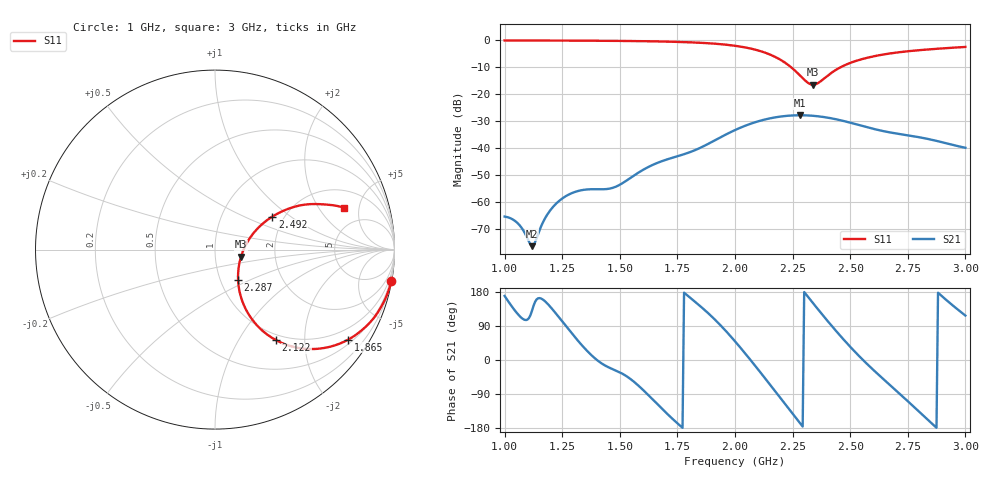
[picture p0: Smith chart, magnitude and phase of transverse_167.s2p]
! TOUCHSTONE file generated by CST MICROWAVE STUDIO
! Date and time: Tue Mar 11 13:57:19 2025
! Project name: transverse.cst
! Parameters = {Fracture=1; B=10; D=160; F=15; Feed=2.85625; L=100; M=30; R=0.384908; S=2; Theta=180; length=57.125; wave=114.25}
! Header version: 2024
! Port assignment regex: !\s*Touchstone port\s*([0-9]+)\s*=\s*(CST MWS port|CST DES external port|CST DES block port)\s*(.+)\s* \(\"(.*)\"\)(\s*mode\s*([0-9]+))?.*
! Touchstone port assignment:
! Touchstone port 1 = CST MWS port 1 ("")
! Touchstone port 2 = CST MWS port 2 ("")
# GHz S MA R 50
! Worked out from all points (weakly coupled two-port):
!   304 points, 1 GHz to 3 GHz, reference 50 ohm
!   highest |S21| = -27.81 dB at 2.281 GHz (marker M1); lowest = -76.4 dB at 1.119 GHz (marker M2)
!   lowest |S11| = -16.5 dB at 2.34 GHz (marker M3), VSWR 1.35, Z = 66.7 - j5.47 ohm
!   |S11| at or under -10 dB: 2.244 GHz to 2.458 GHz (213.6 MHz wide, 9.09 % of centre)
!   S12 and S22 are empty: the file has one direction only
!   S11 on the Smith chart (normalised r, x): 1 GHz: 0, -11; 1.865 GHz: 0.62, -3.16; 2.122 GHz: 0.91, -1.46; 2.287 GHz: 1.21, -0.43; 2.492 GHz: 1.74, +0.74; 3 GHz: 3.20, +3.49
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1  0.9975 -10.0  0.0005351 169.1  0 0.0  0 0.0
1.05941  0.9969 -10.8  0.0003919 119.7  0 0.0  0 0.0
1.11881  0.9961 -11.7  0.0001507 130.0  0 0.0  0 0.0
1.13201  0.9958 -11.9  0.0001778 153.2  0 0.0  0 0.0
1.17162  0.9947 -12.6  0.0004621 157.0  0 0.0  0 0.0
1.21122  0.9935 -13.2  0.0008178 131.2  0 0.0  0 0.0
1.27063  0.9916 -14.3  0.001316 86.2  0 0.0  0 0.0
1.33663  0.9891 -15.5  0.001659 38.1  0 0.0  0 0.0
1.47525  0.9802 -18.7  0.001862 -25.8  0 0.0  0 0.0
1.66667  0.9574 -24.5  0.005385 -118.6  0 0.0  0 0.0
1.86469  0.896 -34.0  0.01089 133.9  0 0.0  0 0.0
2.0033  0.7905 -44.4  0.02192 47.0  0 0.0  0 0.0
2.12211  0.6092 -56.0  0.03332 -41.8  0 0.0  0 0.0
2.20792  0.4096 -62.5  0.03901 -108.7  0 0.0  0 0.0
2.28053  0.2268 -55.1  0.04071 -165.4  0 0.0  0 0.0
2.28713  0.2125 -52.7  0.04071 -170.5  0 0.0  0 0.0
2.32013  0.1594 -32.9  0.04029 164.1  0 0.0  0 0.0
2.33993  0.1503 -15.5  0.03974 149.1  0 0.0  0 0.0
2.41254  0.2393 23.9  0.03608 95.3  0 0.0  0 0.0
2.49175  0.3695 29.9  0.03028 40.4  0 0.0  0 0.0
2.66997  0.5699 26.2  0.01964 -64.6  0 0.0  0 0.0
3  0.7552 18.0  0.01013 117.3  0 0.0  0 0.0
